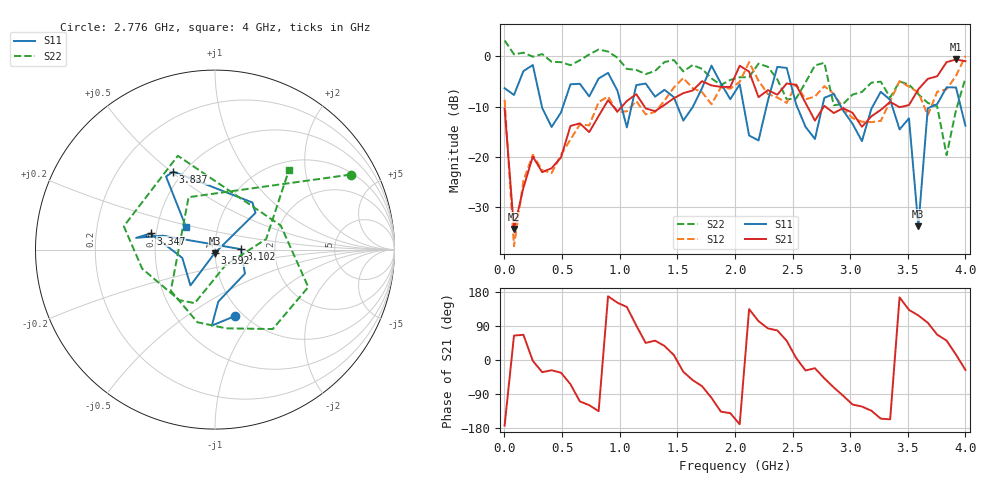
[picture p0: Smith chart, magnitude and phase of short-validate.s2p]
!Created with skrf (http://scikit-rf.org).
# GHz S DB R 50.0
!freq dBS11 angS11 dBS21 angS21 dBS12 angS12 dBS22 angS22
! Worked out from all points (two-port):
!   50 points, 1 MHz to 4 GHz, reference 50 ohm
!   highest |S21| = -0.63 dB at 3.918 GHz (marker M1); lowest = -34.3 dB at 82.61 MHz (marker M2)
!   |S21| within 3 dB of the highest: 2.007 GHz to 2.133 GHz (125.4 MHz wide, 6.06 % of centre); 3.765 GHz to end of sweep
!   lowest |S11| = -33.8 dB at 3.592 GHz (marker M3), VSWR 1.04, Z = 49.7 - j2.03 ohm
!   |S11| at or under -10 dB: 324.8 MHz to 507.3 MHz (182.5 MHz wide, 43.9 % of centre); 2.92 GHz to 3.194 GHz (273.8 MHz wide, 8.96 % of centre); 3.366 GHz to 3.706 GHz (339.9 MHz wide, 9.61 % of centre) (the widest 3 of 8)
!   |S22| runs from -19.6 to 3.1 dB; largest |S21 - S12| = 0.49
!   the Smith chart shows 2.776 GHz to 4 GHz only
!   S11 on the Smith chart (normalised r, x): 2.776 GHz: 0.92, -0.80; 3.102 GHz: 1.34, +0.01; 3.347 GHz: 0.47, +0.10; 3.592 GHz: 0.99, -0.04; 3.837 GHz: 0.44, +0.51; 4 GHz: 0.70, +0.19
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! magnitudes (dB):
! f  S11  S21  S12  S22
! 1 MHz  -6.3  -10.4  -8.6  3.1
! 82.61 MHz  -7.7  -34.3  -37.7  0.4
! 245.8 MHz  -1.7  -19.9  -19.5  -0.1
! 409.1 MHz  -14.0  -22.2  -23.2  -1.1
! 735.5 MHz  -8.0  -15.1  -13.7  0.4
! 898.7 MHz  -3.3  -8.7  -8.0  0.9
! 1.062 GHz  -14.1  -8.9  -10.9  -2.5
! 1.388 GHz  -6.6  -9.7  -8.8  -1.1
! 2.041 GHz  -5.6  -1.9  -5.1  -4.2
! 2.205 GHz  -16.7  -8.1  -4.8  -1.4
! 2.449 GHz  -2.3  -5.4  -9.3  -8.5
! 2.694 GHz  -16.4  -12.8  -8.0  -1.8
! 2.776 GHz  -8.3  -9.8  -5.9  -1.3
! 2.857 GHz  -7.5  -11.3  -7.4  -9.7
! 3.102 GHz  -16.8  -14.0  -13.0  -7.1
! 3.347 GHz  -8.6  -9.0  -8.9  -8.2
! 3.51 GHz  -12.3  -9.7  -6.0  -5.6
! 3.592 GHz  -33.8  -6.5  -7.2  -7.5
! 3.674 GHz  -10.3  -4.5  -11.7  -9.3
! 3.837 GHz  -6.1  -1.1  -6.5  -19.6
! 3.918 GHz  -6.2  -0.6  -3.9  -10.7
! 4 GHz  -13.8  -1.0  0.1  -4.3
